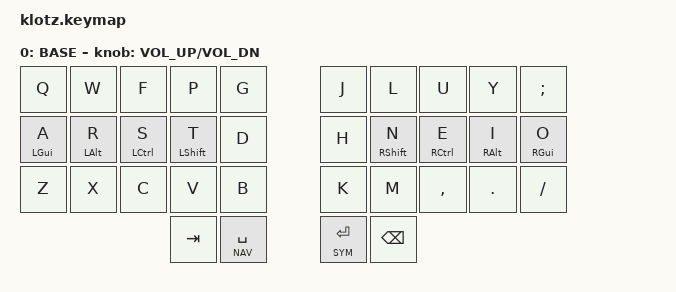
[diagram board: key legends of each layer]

//                                      █         ██        ▄▀▀▀▀▀▀▀▀▀▀█▀▀▀▀▀▀▀▀█▀▀▀▀▀▀▀▀▀▀█
//                                      █        █ █      ▄▀            ▀▄      █         █
//                                      █       █  █    ▄▀                ▀▄    █        █
//                                      █      █   █   █                    █   █       █
//                                      █     █    █   █                    █   █      █
//                                      █    █     █   █                    █   █  ▀▀▀█▀▀▀▀
//                                      █   █ █    █   █                    █   █    █
//                                      █  █   █   █   █                    █   █   █
//                                      █ █     █  █    ▀▄                ▄▀    █  █
//                                      ██       █ █      ▀▄            ▄▀      █ █
//                                      █         ██▄▄▄▄▄▄▄▄█▄▄▄▄▄▄▄▄▄▄▀        ██▄▄▄▄▄▄▄▄▄▄
//
// ▄▄▄▄▄▄▄▄▄▄▄▄▄▄▄▄▄▄▄▄▄▄▄▄▄▄▄▄▄▄▄▄▄▄▄▄▄▄▄▄▄▄▄▄▄▄▄▄▄▄▄▄▄▄▄▄▄▄▄▄▄▄▄▄▄▄▄▄▄▄▄▄▄▄▄▄▄▄▄▄▄▄▄▄▄▄▄▄▄▄▄▄▄▄▄▄▄▄▄▄▄▄▄▄▄▄▄▄▄▄▄▄▄▄▄▄▄▄▄▄▄▄▄▄▄
       

#include <behaviors.dtsi>
#include <dt-bindings/zmk/keys.h>
#include <dt-bindings/zmk/bt.h>
#include <dt-bindings/zmk/outputs.h>

#define BASE 0
#define NAV  1
#define SYM  2
#define ADJ  3
#define TVP1 4
#define TVP2 5

&mt {
  quick-tap-ms = <100>;
  global-quick-tap;
  flavor = "tap-preferred";
  tapping-term-ms = <170>;
};

/ {
     combos {
            compatible = "zmk,combos";
            combo_esc {
                timeout-ms = <50>;
                key-positions = <0 1>;
                bindings = <&kp ESC>;
            };
            combo_tvp {
                timeout-ms = <100>;
                key-positions = <11 12 13>;
                bindings = <&tog TVP1>;
            };
    };

    macros {
        gif: gif {
            label = "giphy";
            compatible = "zmk,behavior-macro";
            #binding-cells = <0>;
            bindings
                = <&macro_press &kp LSHFT>
                , <&macro_tap &kp N2>
                , <&macro_release &kp LSHFT>
                , <&macro_tap &kp G &kp I &kp F>
                ;
        };
        qusp: qusp {
            label = "quote space";
            compatible = "zmk,behavior-macro";
            #binding-cells = <0>;
            bindings
                = <&macro_tap &kp DQT>
                , <&macro_tap &kp SPACE>
                ;
        };
        sqsp: sqsp {
            label = "quote space";
            compatible = "zmk,behavior-macro";
            #binding-cells = <0>;
            bindings
                = <&macro_tap &kp SQT>
                , <&macro_tap &kp SPACE>
                ;
        }; 
    };

        keymap {
                compatible = "zmk,keymap";
// ▄▄▄▄▄▄▄▄▄▄▄▄▄▄▄▄▄▄▄▄▄▄▄▄▄▄▄▄▄▄▄▄▄▄▄▄▄▄▄▄▄▄▄▄▄▄▄▄▄▄▄▄▄▄▄▄▄▄▄▄▄▄▄▄▄▄▄▄▄▄▄▄▄▄▄▄▄▄▄▄▄▄▄▄▄▄▄▄▄▄▄▄▄▄▄▄▄▄▄▄▄▄▄▄▄▄▄▄▄▄▄▄▄▄▄▄▄▄▄▄▄▄▄▄▄


                base_layer {
// ┏━━━━━━━━━━━━━━━━━━━━━━━━━━━━━━━━━━━━━━━┓
label= "BASE"                              ;
// ┗━━━━━━━━━━━━━━━━━━━━━━━━━━━━━━━━━━━━━━━┛
// ┏━━━━━━━━━━━┳━━━━━━━━━━━┳━━━━━━━━━━━┳━━━━━━━━━━━┳━━━━━━━━━━━┓   ┏━━━━━━━━━━━┳━━━━━━━━━━━┳━━━━━━━━━━━┳━━━━━━━━━━━┳━━━━━━━━━━━┓
// ┃     Q     ┃     W     ┃     F     ┃     P     ┃     G     ┃   ┃     J     ┃     L     ┃     U     ┃     Y     ┃     ;     ┃
// ┣━━━━━━━━━━━╋━━━━━━━━━━━╋━━━━━━━━━━━╋━━━━━━━━━━━╋━━━━━━━━━━━┫   ┣━━━━━━━━━━━╋━━━━━━━━━━━╋━━━━━━━━━━━╋━━━━━━━━━━━╋━━━━━━━━━━━┫
// ┃     A     ┃     R     ┃     S     ┃     T     ┃     D     ┃   ┃     H     ┃     N     ┃     E     ┃     I     ┃     O     ┃
// ┣━━━━━━━━━━━╋━━━━━━━━━━━╋━━━━━━━━━━━╋━━━━━━━━━━━╋━━━━━━━━━━━┫   ┣━━━━━━━━━━━╋━━━━━━━━━━━╋━━━━━━━━━━━╋━━━━━━━━━━━╋━━━━━━━━━━━┫
// ┃     Z     ┃     X     ┃     C     ┃     V     ┃     B     ┃   ┃     K     ┃     M     ┃     ,     ┃     .     ┃     /     ┃
// ┗━━━━━━━━━━━┻━━━━━━━━━━━┻━━━━━━━━━━━╋━━━━━━━━━━━╋━━━━━━━━━━━┫   ┣━━━━━━━━━━━╋━━━━━━━━━━━╋━━━━━━━━━━━┻━━━━━━━━━━━┻━━━━━━━━━━━┛
//                                     ┃    TAB    ┃    SPC    ┃   ┃   ENTER   ┃   BSPC    ┃
//                                     ┗━━━━━━━━━━━┻━━━━━━━━━━━┛   ┗━━━━━━━━━━━┻━━━━━━━━━━━┛
 bindings = <
// ╷           ╷           ╷           ╷           ╷           ╷   ╷           ╷           ╷           ╷           ╷           ╷

    &kp Q       &kp W       &kp F       &kp P       &kp G           &kp J       &kp L       &kp U       &kp Y       &kp SEMI
    &mt LGUI A  &mt LALT R  &mt LCTRL S &mt LSHFT T &kp D           &kp H       &mt RSHFT N &mt RCTRL E &mt RALT I  &mt RGUI O
    &kp Z       &kp X       &kp C       &kp V       &kp B           &kp K       &kp M       &kp COMMA   &kp DOT     &kp FSLH
                                        &kp TAB     &lt NAV SPACE   &lt SYM RET &kp BSPC    
                        >;
            sensor-bindings = <&inc_dec_kp C_VOL_UP C_VOL_DN>;
                };


        };
};
